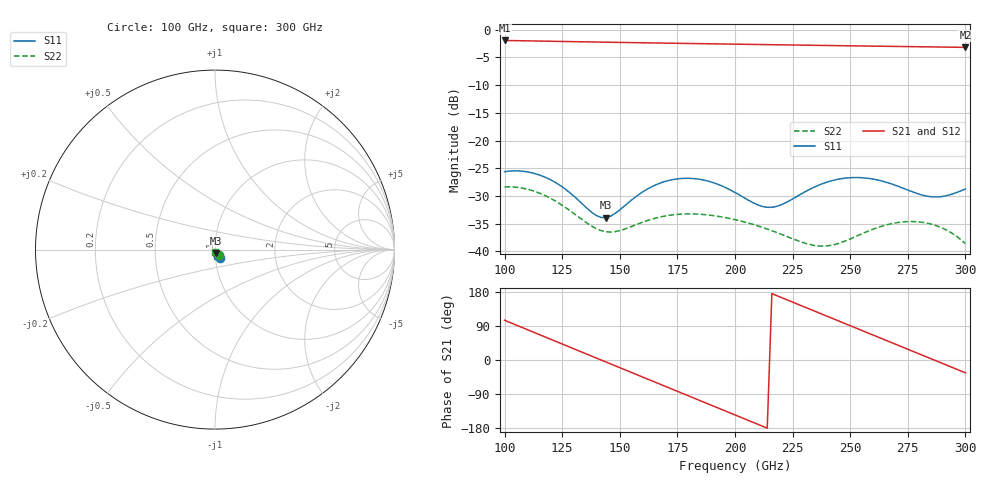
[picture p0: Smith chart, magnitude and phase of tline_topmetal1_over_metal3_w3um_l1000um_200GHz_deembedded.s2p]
! Created with skrf 2.0.1 (http://scikit-rf.org).
# GHz S DB R 50.0
!freq dBS11 angS11 dBS21 angS21 dBS12 angS12 dBS22 angS22
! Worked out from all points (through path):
!   101 points, 100 GHz to 300 GHz, reference 50 ohm
!   highest |S21| = -1.94 dB at 100 GHz (marker M1); lowest = -3.2 dB at 300 GHz (marker M2)
!   group delay of S21, straight-line fit = 6.92 ps
!   lowest |S11| = -33.9 dB at 144 GHz (marker M3), VSWR 1.04, Z = 50.6 - j1.95 ohm
!   |S11| at or under -10 dB: start of sweep to end of sweep
!   |S22| runs from -39.0 to -28.3 dB; largest |S21 - S12| = 1.2e-13
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100  -25.61 -57.9  -1.94 104.8  -1.94 104.8  -28.36 -50.7
108  -25.54 -71.9  -2.00 84.8  -2.00 84.8  -28.60 -62.9
116  -26.34 -85.1  -2.06 64.7  -2.06 64.7  -29.63 -73.7
126  -28.65 -97.0  -2.13 39.7  -2.13 39.7  -31.95 -82.6
134  -31.53 -97.1  -2.19 19.7  -2.19 19.7  -34.36 -81.9
144  -33.90 -72.3  -2.26 -5.3  -2.26 -5.3  -36.45 -66.9
156  -30.43 -52.6  -2.34 -35.2  -2.34 -35.2  -35.35 -50.6
168  -27.59 -61.4  -2.41 -65.2  -2.41 -65.2  -33.74 -51.8
176  -26.86 -71.7  -2.46 -85.1  -2.46 -85.1  -33.28 -56.9
184  -26.94 -82.2  -2.51 -105.1  -2.51 -105.1  -33.27 -62.7
200  -29.36 -95.5  -2.61 -145.0  -2.61 -145.0  -34.26 -72.8
208  -31.24 -91.4  -2.66 -164.9  -2.66 -164.9  -35.14 -76.2
216  -32.03 -77.2  -2.71 175.2  -2.71 175.2  -36.26 -77.8
224  -30.76 -65.0  -2.76 155.3  -2.76 155.3  -37.55 -76.2
234  -28.48 -63.7  -2.82 130.4  -2.82 130.4  -38.89 -67.4
242  -27.24 -69.5  -2.86 110.5  -2.86 110.5  -38.88 -56.5
250  -26.70 -77.4  -2.91 90.6  -2.91 90.6  -37.74 -49.3
258  -26.82 -85.3  -2.95 70.7  -2.95 70.7  -36.30 -49.2
268  -27.83 -92.2  -3.01 45.8  -3.01 45.8  -34.98 -56.6
284  -30.08 -85.7  -3.10 6.0  -3.10 6.0  -34.95 -76.9
292  -29.92 -75.5  -3.15 -13.9  -3.15 -13.9  -36.19 -87.5
300  -28.73 -69.6  -3.19 -33.7  -3.19 -33.7  -38.59 -94.9
